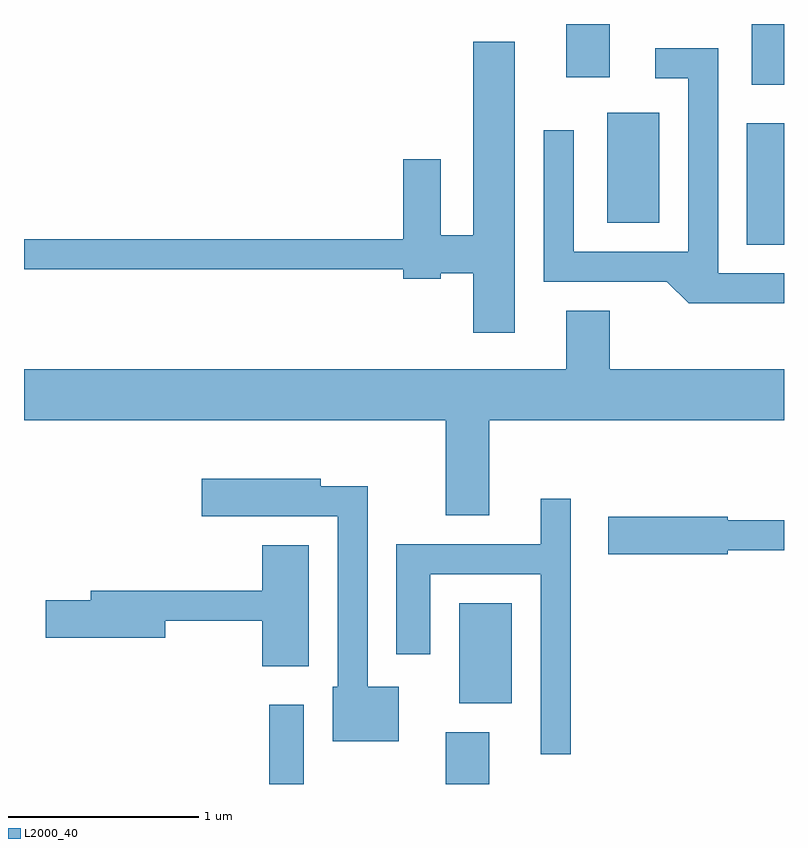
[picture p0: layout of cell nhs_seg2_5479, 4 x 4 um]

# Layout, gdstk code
import gdstk
lib = gdstk.Library(unit=1e-6, precision=1e-09)
def R(c, l, rs):  # rectangles x0, y0, x1, y1
    for r in rs: c.add(gdstk.rectangle(r[:2], r[2:], *l))
def P(c, l, *ps):  # polygons
    for p in ps: c.add(gdstk.Polygon(p, *l))
L2000_40 = (2000, 40)

nhs_seg2_5479 = lib.new_cell('nhs_seg2_5479')
R(nhs_seg2_5479, L2000_40, [(348.901,979.802,349.084,980.219), (349.831,979.802,350.059,980.074), (349.901,980.226,350.179,980.754), (351.416,982.641,351.611,983.279), (350.681,982.756,350.954,983.334), (351.441,983.481,351.611,983.802), (350.466,983.521,350.694,983.802)])
P(nhs_seg2_5479, L2000_40, [(350.194,983.709),(349.976,983.709),(349.976,982.689),(349.804,982.689),(349.804,983.089),(349.606,983.089),(349.606,982.669),(347.611,982.669),(347.611,982.511),(349.606,982.511),(349.606,982.461),(349.804,982.461),(349.804,982.491),(349.976,982.491),(349.976,982.176),(350.194,982.176)],
  [(351.611,982.489),(351.264,982.489),(351.264,983.674),(350.933,983.674),(350.933,983.516),(351.106,983.516),(351.106,982.604),(350.504,982.604),(350.504,983.243),(350.346,983.243),(350.346,982.446),(350.994,982.446),(351.109,982.331),(351.611,982.331)],
  [(350.059,981.716),(351.611,981.716),(351.611,981.984),(350.694,981.984),(350.694,982.294),(350.466,982.294),(350.466,981.984),(347.611,981.984),(347.611,981.716),(349.831,981.716),(349.831,981.216),(350.059,981.216)],
  [(349.584,980.314),(349.419,980.314),(349.419,981.369),(349.174,981.369),(349.174,981.409),(348.546,981.409),(348.546,981.211),(349.261,981.211),(349.261,980.314),(349.236,980.314),(349.236,980.026),(349.584,980.026)],
  [(350.489,981.303),(350.331,981.303),(350.331,981.064),(349.571,981.064),(349.571,980.486),(349.749,980.486),(349.749,980.906),(350.331,980.906),(350.331,979.958),(350.489,979.958)],
  [(351.314,981.031),(351.611,981.031),(351.611,981.189),(351.314,981.189),(351.314,981.209),(350.686,981.209),(350.686,981.011),(351.314,981.011)],
  [(349.109,981.059),(348.866,981.059),(348.866,980.819),(347.961,980.819),(347.961,980.769),(347.726,980.769),(347.726,980.571),(348.354,980.571),(348.354,980.661),(348.866,980.661),(348.866,980.421),(349.109,980.421)])

lib.write_gds('nhs_seg2_5479.gds')
